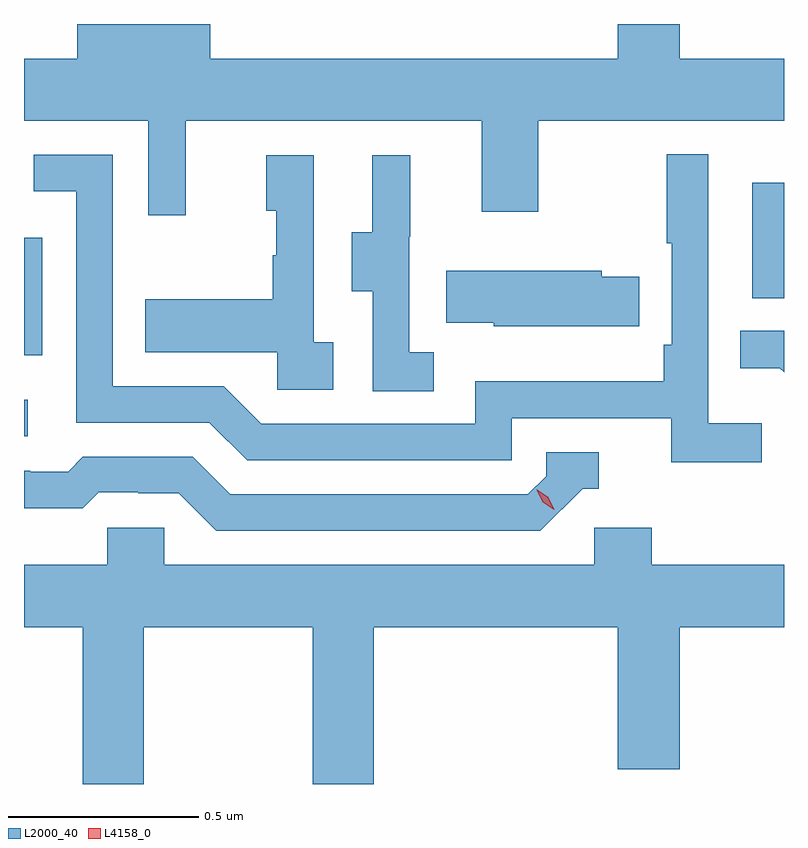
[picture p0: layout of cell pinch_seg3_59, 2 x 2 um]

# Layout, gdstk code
import gdstk
lib = gdstk.Library(unit=1e-6, precision=1e-09)
def R(c, l, rs):  # rectangles x0, y0, x1, y1
    for r in rs: c.add(gdstk.rectangle(r[:2], r[2:], *l))
def P(c, l, *ps):  # polygons
    for p in ps: c.add(gdstk.Polygon(p, *l))
L2000_40 = (2000, 40)
L4158_0 = (4158, 0)

pinch_seg3_59 = lib.new_cell('pinch_seg3_59')
R(pinch_seg3_59, L2000_40, [(1062.546,746.706,1062.556,746.802), (1062.546,746.919,1062.594,747.228), (1064.462,747.069,1064.546,747.373)])
P(pinch_seg3_59, L2000_40, [(1062.971,747.536),(1063.751,747.536),(1063.751,747.297),(1063.899,747.297),(1063.899,747.536),(1064.546,747.536),(1064.546,747.7),(1064.272,747.7),(1064.272,747.791),(1064.108,747.791),(1064.108,747.7),(1063.036,747.7),(1063.036,747.791),(1062.686,747.791),(1062.686,747.7),(1062.546,747.7),(1062.546,747.536),(1062.873,747.536),(1062.873,747.288),(1062.971,747.288)],
  [(1064.488,746.74),(1064.346,746.74),(1064.346,747.448),(1064.238,747.448),(1064.238,747.214),(1064.25,747.214),(1064.25,746.947),(1064.23,746.947),(1064.23,746.851),(1063.734,746.851),(1063.734,746.739),(1063.17,746.739),(1063.071,746.838),(1062.78,746.838),(1062.78,747.447),(1062.571,747.447),(1062.571,747.351),(1062.684,747.351),(1062.684,746.742),(1063.034,746.742),(1063.133,746.643),(1063.83,746.643),(1063.83,746.754),(1064.249,746.754),(1064.249,746.638),(1064.488,746.638)],
  [(1063.36,746.954),(1063.308,746.954),(1063.308,747.445),(1063.184,747.445),(1063.184,747.3),(1063.21,747.3),(1063.21,747.182),(1063.2,747.182),(1063.2,747.067),(1062.865,747.067),(1062.865,746.927),(1063.212,746.927),(1063.212,746.829),(1063.36,746.829)],
  [(1063.624,746.927),(1063.56,746.927),(1063.56,747.231),(1063.562,747.231),(1063.562,747.445),(1063.463,747.445),(1063.463,747.243),(1063.409,747.243),(1063.409,747.088),(1063.464,747.088),(1063.464,746.824),(1063.624,746.824)],
  [(1064.165,747.126),(1064.067,747.126),(1064.067,747.142),(1063.657,747.142),(1063.657,747.005),(1063.782,747.005),(1063.782,746.996),(1064.165,746.996)],
  [(1064.546,746.984),(1064.431,746.984),(1064.431,746.885),(1064.535,746.885),(1064.546,746.874)],
  [(1064.016,746.568),(1064.059,746.568),(1064.059,746.664),(1063.92,746.664),(1063.92,746.601),(1063.872,746.553),(1063.089,746.553),(1062.99,746.652),(1062.701,746.652),(1062.662,746.613),(1062.563,746.613),(1062.563,746.616),(1062.546,746.616),(1062.546,746.517),(1062.701,746.517),(1062.743,746.559),(1062.846,746.559),(1062.846,746.556),(1062.953,746.556),(1063.052,746.457),(1063.905,746.457)],
  [(1062.861,746.204),(1063.306,746.204),(1063.306,745.791),(1063.466,745.791),(1063.466,746.204),(1064.108,746.204),(1064.108,745.83),(1064.272,745.83),(1064.272,746.204),(1064.546,746.204),(1064.546,746.368),(1064.198,746.368),(1064.198,746.466),(1064.046,746.466),(1064.046,746.368),(1062.915,746.368),(1062.915,746.466),(1062.765,746.466),(1062.765,746.368),(1062.546,746.368),(1062.546,746.204),(1062.701,746.204),(1062.701,745.791),(1062.861,745.791)])
P(pinch_seg3_59, L4158_0, [(1063.941,746.513),(1063.911,746.533),(1063.895,746.566),(1063.895,746.566),(1063.896,746.566),(1063.926,746.546),(1063.941,746.513),(1063.941,746.513)])

lib.write_gds('pinch_seg3_59.gds')
